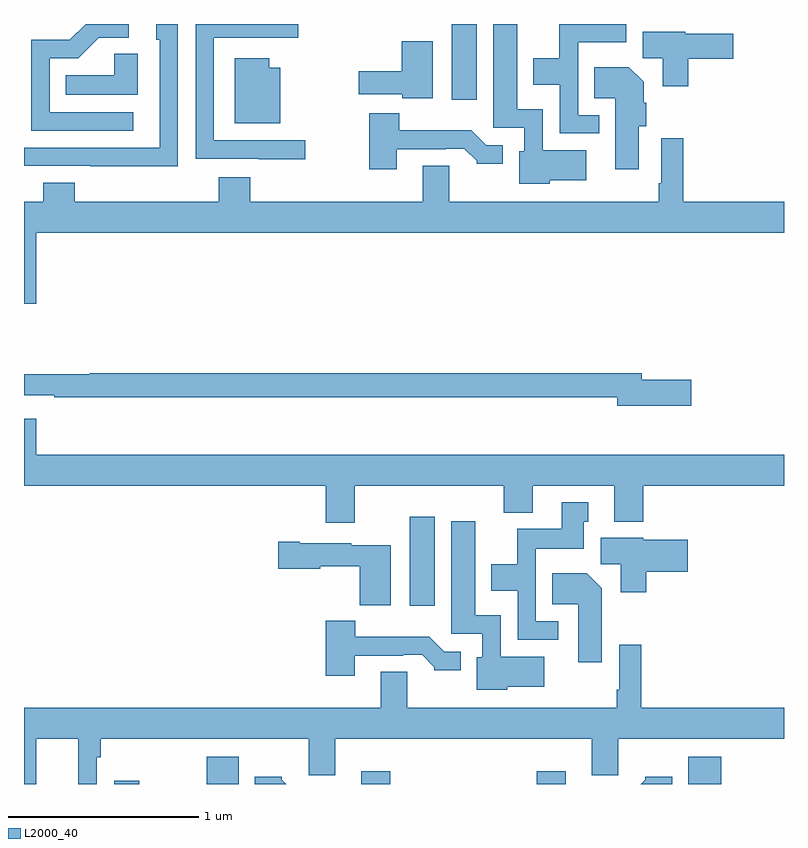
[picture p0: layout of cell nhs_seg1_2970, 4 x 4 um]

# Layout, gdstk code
import gdstk
lib = gdstk.Library(unit=1e-6, precision=1e-09)
def R(c, l, rs):  # rectangles x0, y0, x1, y1
    for r in rs: c.add(gdstk.rectangle(r[:2], r[2:], *l))
def P(c, l, *ps):  # polygons
    for p in ps: c.add(gdstk.Polygon(p, *l))
L2000_40 = (2000, 40)

nhs_seg1_2970 = lib.new_cell('nhs_seg1_2970')
R(nhs_seg1_2970, L2000_40, [(273.476,514.199,273.606,514.216), (273.961,514.199,274.129,514.342), (274.775,514.199,274.928,514.267), (275.699,514.199,275.851,514.267), (276.497,514.199,276.671,514.342), (275.03,515.136,275.161,515.605), (275.252,517.8,275.383,518.199)])
P(nhs_seg1_2970, L2000_40, [(276.028,517.719),(275.916,517.719),(275.916,518.102),(276.169,518.102),(276.169,518.199),(275.818,518.199),(275.818,518.02),(275.681,518.02),(275.681,517.88),(275.82,517.88),(275.82,517.623),(276.028,517.623)],
  [(275.766,517.376),(275.959,517.376),(275.959,517.534),(275.73,517.534),(275.73,517.75),(275.596,517.75),(275.596,518.199),(275.471,518.199),(275.471,517.653),(275.634,517.653),(275.634,517.53),(275.606,517.53),(275.606,517.358),(275.766,517.358)],
  [(274.48,517.587),(273.999,517.587),(273.999,518.127),(274.444,518.127),(274.444,518.199),(273.903,518.199),(273.903,517.491),(274.235,517.491),(274.235,517.487),(274.48,517.487)],
  [(273.81,518.199),(273.695,518.199),(273.695,518.115),(273.714,518.115),(273.714,517.548),(273,517.548),(273,517.452),(273.349,517.452),(273.349,517.451),(273.81,517.451)],
  [(273.574,517.734),(273.135,517.734),(273.135,518.019),(273.285,518.019),(273.393,518.127),(273.55,518.127),(273.55,518.199),(273.324,518.199),(273.24,518.115),(273.039,518.115),(273.039,517.638),(273.574,517.638)],
  [(276.497,518.015),(276.733,518.015),(276.733,518.149),(276.48,518.149),(276.48,518.158),(276.257,518.158),(276.257,518.02),(276.362,518.02),(276.362,517.871),(276.497,517.871)],
  [(275.152,518.107),(274.988,518.107),(274.988,517.951),(274.761,517.951),(274.761,517.829),(274.992,517.829),(274.992,517.808),(275.152,517.808)],
  [(273.598,518.042),(273.476,518.042),(273.476,517.93),(273.22,517.93),(273.22,517.826),(273.598,517.826)],
  [(274.348,517.969),(274.29,517.969),(274.29,518.02),(274.109,518.02),(274.109,517.676),(274.348,517.676)],
  [(276.235,517.662),(276.275,517.662),(276.275,517.784),(276.262,517.784),(276.262,517.894),(276.184,517.972),(276.001,517.972),(276.001,517.808),(276.113,517.808),(276.113,517.434),(276.235,517.434)],
  [(274.963,517.539),(275.219,517.539),(275.219,517.542),(275.318,517.542),(275.382,517.478),(275.382,517.463),(275.521,517.463),(275.521,517.56),(275.433,517.56),(275.355,517.639),(274.976,517.639),(274.976,517.729),(274.816,517.729),(274.816,517.434),(274.963,517.434)],
  [(273.064,517.1),(277,517.1),(277,517.264),(276.47,517.264),(276.47,517.597),(276.354,517.597),(276.354,517.36),(276.342,517.36),(276.342,517.264),(275.239,517.264),(275.239,517.454),(275.099,517.454),(275.099,517.264),(274.19,517.264),(274.19,517.393),(274.025,517.393),(274.025,517.264),(273.266,517.264),(273.266,517.363),(273.101,517.363),(273.101,517.264),(273,517.264),(273,516.726),(273.064,516.726)],
  [(276.511,516.326),(276.25,516.326),(276.25,516.362),(273.346,516.362),(273.346,516.355),(273,516.355),(273,516.246),(273.16,516.246),(273.16,516.234),(276.122,516.234),(276.122,516.191),(276.511,516.191)],
  [(274.741,515.768),(275.525,515.768),(275.525,515.627),(275.677,515.627),(275.677,515.768),(276.107,515.768),(276.107,515.579),(276.26,515.579),(276.26,515.768),(277,515.768),(277,515.932),(273.064,515.932),(273.064,516.121),(273,516.121),(273,515.768),(274.589,515.768),(274.589,515.574),(274.741,515.574)],
  [(275.812,515.055),(275.694,515.055),(275.694,515.438),(275.947,515.438),(275.947,515.58),(275.971,515.58),(275.971,515.683),(275.831,515.683),(275.831,515.542),(275.596,515.542),(275.596,515.356),(275.459,515.356),(275.459,515.216),(275.598,515.216),(275.598,514.959),(275.812,514.959)],
  [(275.544,514.712),(275.737,514.712),(275.737,514.87),(275.508,514.87),(275.508,515.086),(275.374,515.086),(275.374,515.581),(275.249,515.581),(275.249,514.989),(275.412,514.989),(275.412,514.866),(275.384,514.866),(275.384,514.694),(275.544,514.694)],
  [(276.275,515.315),(276.493,515.315),(276.493,515.485),(276.258,515.485),(276.258,515.494),(276.035,515.494),(276.035,515.356),(276.14,515.356),(276.14,515.208),(276.275,515.208)],
  [(274.93,515.455),(274.722,515.455),(274.722,515.467),(274.45,515.467),(274.45,515.475),(274.338,515.475),(274.338,515.333),(274.56,515.333),(274.56,515.345),(274.768,515.345),(274.768,515.141),(274.93,515.141)],
  [(276.04,515.23),(275.962,515.308),(275.779,515.308),(275.779,515.144),(275.918,515.144),(275.918,514.839),(276.04,514.839)],
  [(274.741,514.875),(274.997,514.875),(274.997,514.878),(275.096,514.878),(275.16,514.814),(275.16,514.799),(275.299,514.799),(275.299,514.896),(275.211,514.896),(275.133,514.975),(274.744,514.975),(274.744,515.059),(274.589,515.059),(274.589,514.77),(274.741,514.77)],
  [(275.987,514.246),(276.127,514.246),(276.127,514.436),(277,514.436),(277,514.6),(276.248,514.6),(276.248,514.933),(276.132,514.933),(276.132,514.696),(276.12,514.696),(276.12,514.6),(275.017,514.6),(275.017,514.79),(274.877,514.79),(274.877,514.6),(273,514.6),(273,514.199),(273.064,514.199),(273.064,514.436),(273.286,514.436),(273.286,514.199),(273.384,514.199),(273.384,514.34),(273.404,514.34),(273.404,514.436),(274.499,514.436),(274.499,514.246),(274.639,514.246),(274.639,514.436),(275.987,514.436)],
  [(274.356,514.222),(274.356,514.237),(274.214,514.237),(274.214,514.199),(274.379,514.199)],
  [(276.412,514.237),(276.27,514.237),(276.27,514.222),(276.247,514.199),(276.412,514.199)])

lib.write_gds('nhs_seg1_2970.gds')
